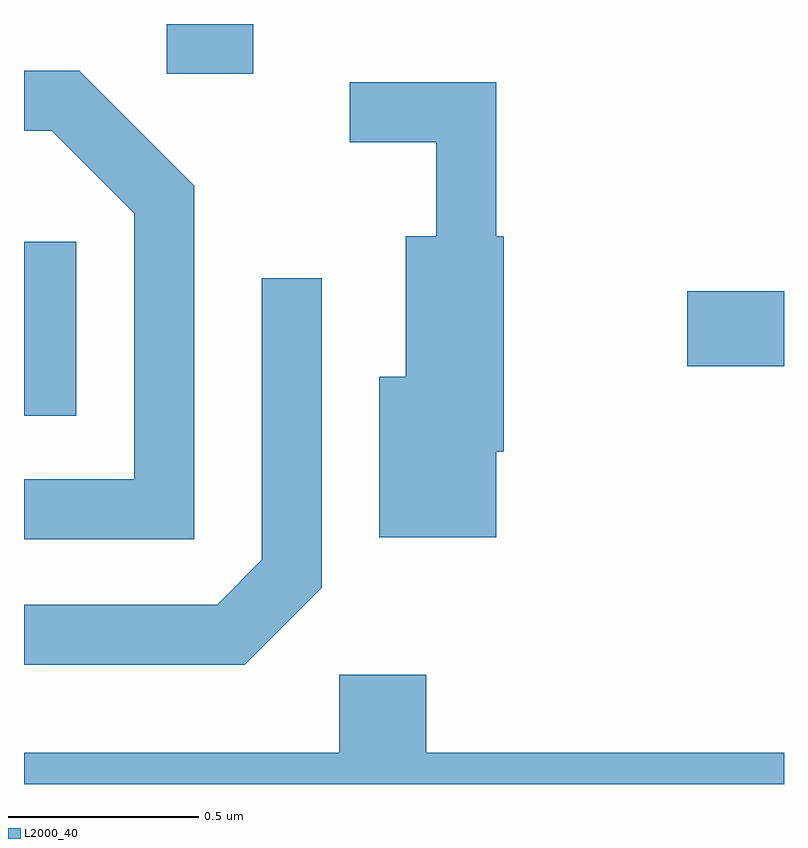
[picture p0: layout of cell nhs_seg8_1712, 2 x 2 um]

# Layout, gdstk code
import gdstk
lib = gdstk.Library(unit=1e-6, precision=1e-09)
def R(c, l, rs):  # rectangles x0, y0, x1, y1
    for r in rs: c.add(gdstk.rectangle(r[:2], r[2:], *l))
def P(c, l, *ps):  # polygons
    for p in ps: c.add(gdstk.Polygon(p, *l))
L2000_40 = (2000, 40)

nhs_seg8_1712 = lib.new_cell('nhs_seg8_1712')
R(nhs_seg8_1712, L2000_40, [(197.611,1875.311,197.749,1875.769), (199.356,1875.441,199.611,1875.639), (197.986,1876.211,198.214,1876.342)])
P(nhs_seg8_1712, L2000_40, [(198.059,1875.917),(197.757,1876.219),(197.611,1876.219),(197.611,1876.061),(197.684,1876.061),(197.901,1875.844),(197.901,1875.144),(197.611,1875.144),(197.611,1874.986),(198.059,1874.986)],
  [(198.854,1875.216),(198.874,1875.216),(198.874,1875.784),(198.854,1875.784),(198.854,1876.189),(198.468,1876.189),(198.468,1876.031),(198.696,1876.031),(198.696,1875.784),(198.616,1875.784),(198.616,1875.414),(198.546,1875.414),(198.546,1874.991),(198.854,1874.991)],
  [(198.394,1874.859),(198.394,1875.673),(198.236,1875.673),(198.236,1874.932),(198.119,1874.814),(197.611,1874.814),(197.611,1874.656),(198.192,1874.656)],
  [(199.611,1874.424),(198.669,1874.424),(198.669,1874.629),(198.441,1874.629),(198.441,1874.424),(197.611,1874.424),(197.611,1874.342),(199.611,1874.342)])

lib.write_gds('nhs_seg8_1712.gds')
